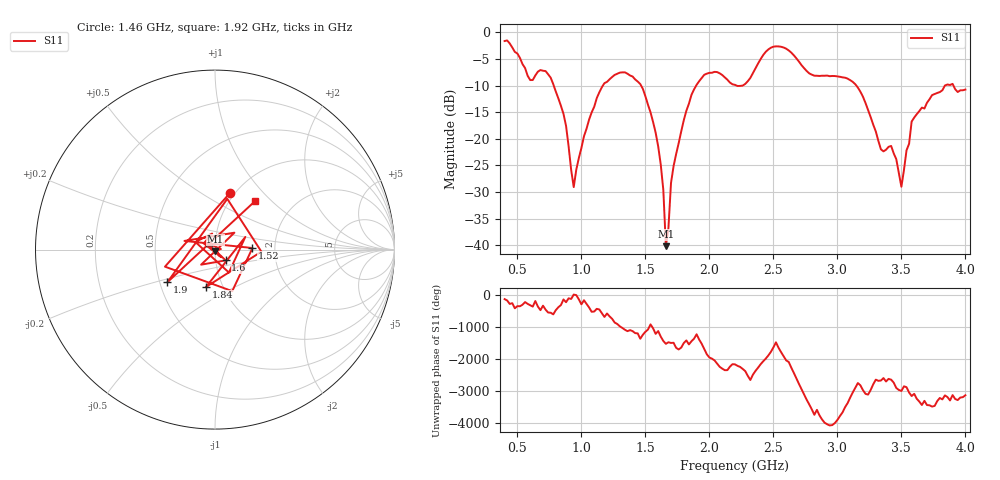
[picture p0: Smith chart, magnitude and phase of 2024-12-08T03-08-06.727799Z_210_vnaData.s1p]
!Created with skrf (http://scikit-rf.org).
# Hz S RI R 50.0
!freq ReS11 ImS11
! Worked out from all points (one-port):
!   181 points, 400 MHz to 4 GHz, reference 50 ohm
!   lowest |S11| = -40.2 dB at 1.66 GHz (marker M1), VSWR 1.02, Z = 50.1 - j0.974 ohm
!   |S11| at or under -10 dB: 783.7 MHz to 1.168 GHz (384.4 MHz wide, 39.4 % of centre); 1.466 GHz to 1.897 GHz (430.8 MHz wide, 25.6 % of centre); 3.148 GHz to 3.84 GHz (692.2 MHz wide, 19.8 % of centre) (the widest 3 of 5)
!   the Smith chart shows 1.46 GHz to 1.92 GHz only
!   S11 on the Smith chart (normalised r, x): 1.46 GHz: 0.95, +0.67; 1.52 GHz: 1.53, +0.03; 1.6 GHz: 1.12, -0.14; 1.84 GHz: 0.83, -0.36; 1.9 GHz: 0.55, -0.22; 1.92 GHz: 1.30, +0.79
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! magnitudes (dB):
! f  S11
! 400 MHz  -1.6
! 600 MHz  -9.0
! 720 MHz  -7.3
! 860 MHz  -15.3
! 940 MHz  -29.1
! 1.12 GHz  -12.4
! 1.3 GHz  -7.6
! 1.46 GHz  -9.7
! 1.52 GHz  -13.6
! 1.6 GHz  -21.5
! 1.64 GHz  -29.6
! 1.66 GHz  -40.2
! 1.7 GHz  -28.3
! 1.76 GHz  -20.8
! 1.84 GHz  -13.4
! 1.9 GHz  -9.9
! 1.92 GHz  -9.2
! 2.2 GHz  -9.9
! 2.48 GHz  -2.9
! 2.66 GHz  -4.3
! 3.1 GHz  -9.0
! 3.34 GHz  -22.0
! 3.42 GHz  -21.4
! 3.5 GHz  -29.0
! 3.56 GHz  -21.0
! 3.58 GHz  -16.8
! 3.74 GHz  -11.8
! 4 GHz  -10.8
